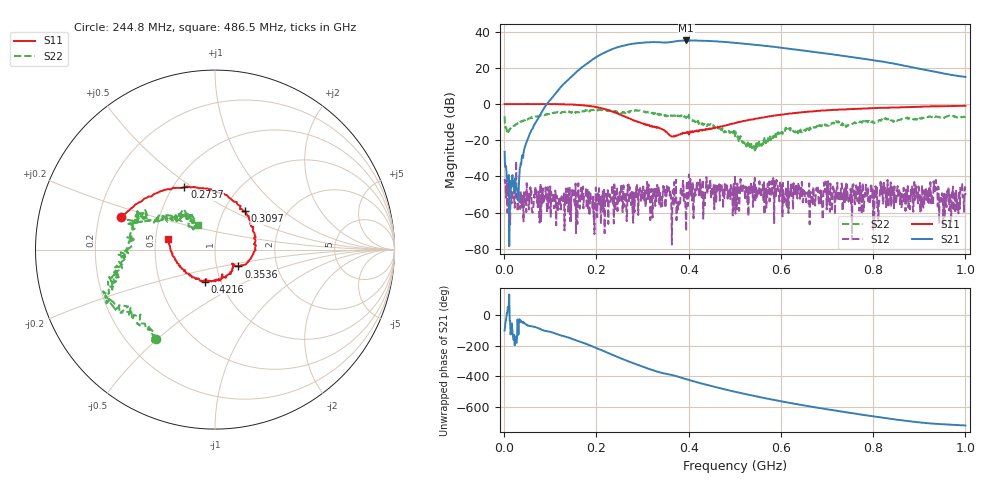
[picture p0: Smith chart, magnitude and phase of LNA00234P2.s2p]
! Created with skrf 1.9.0 (http://scikit-rf.org).
# Hz S RI R 50.0
!freq ReS11 ImS11 ReS21 ImS21 ReS12 ImS12 ReS22 ImS22
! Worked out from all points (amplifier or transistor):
!   1001 points, 1 MHz to 1 GHz, reference 50 ohm
!   highest |S21| = 35.1 dB at 394.6 MHz (marker M1)
!   |S21| within 3 dB of that: 256.9 MHz to 566.1 MHz (309.3 MHz wide, 75.2 % of centre) (the widest 1 of 2)
!   unconditionally stable (mu >= 1): start of sweep to 81.82 MHz; 309.8 MHz to 400.4 MHz; 400.7 MHz to end of sweep (the widest 3 of 33)
!   at 166.8 MHz: K = 0.25, MSG = 33.1 dB, |S12| = -46.3 dB
!   at 500.5 MHz: K = 1.13, MAG = 34.5 dB, |S12| = -39.5 dB
!   at 1 GHz: K = 4.42, MAG = 23.3 dB, |S12| = -50.4 dB
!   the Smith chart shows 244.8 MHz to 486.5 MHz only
!   S11 on the Smith chart (normalised r, x): 244.8 MHz: 0.29, +0.15; 273.7 MHz: 0.57, +0.47; 309.7 MHz: 1.26, +0.58; 353.6 MHz: 1.27, -0.24; 421.6 MHz: 0.84, -0.31; 486.5 MHz: 0.58, +0.08
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1000000  0.9895 -0.00156  -0.0096 -0.0468  -0.00385 0.00763  0.3333 0.32
1.08892e8  0.5146 -0.85  -0.8508 -1.572  0.000688 0.00137  0.4227 -0.384
1.67833e8  -0.2445 -0.8953  -10.18 -0.4365  0.00232 0.000152  0.0398 -0.6438
2.09791e8  -0.6748 -0.3733  -15.72 17.43  0.000409 -0.000251  -0.1981 -0.6584
2.26774e8  -0.6639 -0.0861  -10.09 28.11  0.000625 -0.00211  -0.2671 -0.5963
2.44756e8  -0.5251 0.1795  2.058 36.66  -0.0042 -0.00129  -0.3268 -0.4963
2.73727e8  -0.1704 0.3472  28.25 34.9  -0.00264 -0.00112  -0.5332 -0.332
3.09691e8  0.1688 0.213  49.66 10.15  -0.00611 0.00351  -0.5891 -0.1515
3.34666e8  0.2256 -0.00195  49.75 -11.42  -0.00333 0.00356  -0.4995 -0.0417
3.53647e8  0.1301 -0.0936  44.56 -22.43  -0.0015 0.00336  -0.4764 0.0521
3.72628e8  0.1017 -0.0897  42.11 -34.89  0.00371 0.00716  -0.4886 0.1662
3.94606e8  0.0622 -0.1467  28.33 -49.5  0.000303 -6.08e-05  -0.3977 0.1693
4.21579e8  -0.0548 -0.1786  6.775 -55.79  -0.000745 0.00483  -0.2127 0.1853
4.5055e8  -0.1841 -0.1085  -15.17 -52.83  0.00216 0.00427  -0.1734 0.1856
4.86514e8  -0.2609 0.0606  -34.47 -37.44  0.00276 0.00133  -0.0973 0.1358
5.005e8  -0.2621 0.1436  -39.24 -29.87  0.00903 -0.00559  -0.1065 0.0735
5.4046e8  -0.1847 0.3323  -42.94 -8.292  0.00244 -0.00244  -0.0539 0.0296
5.88412e8  0.0171 0.4829  -35.55 11.96  0.00322 -0.00256  -0.1161 -0.078
6.67333e8  0.3932 0.4847  -13.26 24.4  -0.00262 -0.000514  -0.2245 -0.0332
7.53247e8  0.6682 0.2761  4.338 19.37  -0.0029 -0.00163  -0.2766 0.00698
8.34166e8  0.7899 0.0207  10.35 9.188  -0.0028 -0.00313  -0.371 0.0421
1e9  0.7283 -0.5201  5.614 -0.354  0.0019 0.00236  -0.2895 0.3392
